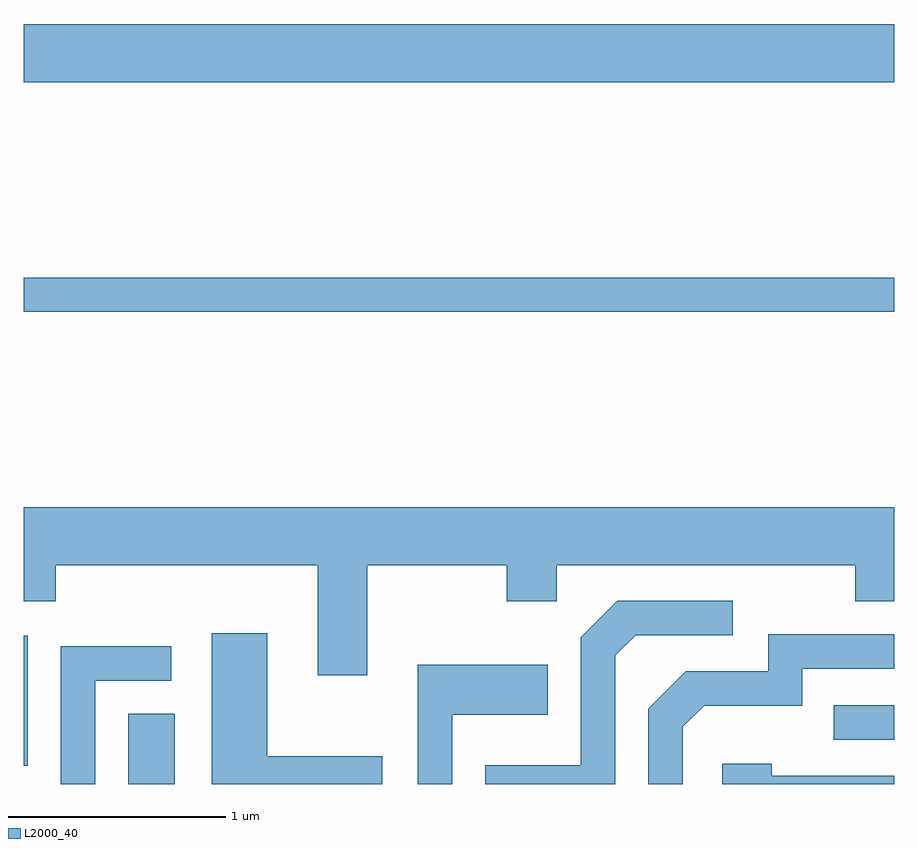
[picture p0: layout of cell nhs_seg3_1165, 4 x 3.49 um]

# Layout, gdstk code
import gdstk
lib = gdstk.Library(unit=1e-6, precision=1e-09)
def R(c, l, rs):  # rectangles x0, y0, x1, y1
    for r in rs: c.add(gdstk.rectangle(r[:2], r[2:], *l))
def P(c, l, *ps):  # polygons
    for p in ps: c.add(gdstk.Polygon(p, *l))
L2000_40 = (2000, 40)

nhs_seg3_1165 = lib.new_cell('nhs_seg3_1165')
R(nhs_seg3_1165, L2000_40, [(220.091,1133.892,220.304,1134.214), (219.611,1133.976,219.629,1134.574), (223.333,1134.096,223.611,1134.254), (219.611,1136.061,223.611,1136.219), (219.611,1137.116,223.611,1137.384)])
P(nhs_seg3_1165, L2000_40, [(221.189,1134.896),(221.831,1134.896),(221.831,1134.731),(222.059,1134.731),(222.059,1134.896),(223.431,1134.896),(223.431,1134.731),(223.611,1134.731),(223.611,1135.164),(219.611,1135.164),(219.611,1134.731),(219.759,1134.731),(219.759,1134.896),(220.961,1134.896),(220.961,1134.391),(221.189,1134.391)],
  [(222.329,1134.484),(222.422,1134.576),(222.868,1134.576),(222.868,1134.734),(222.339,1134.734),(222.171,1134.567),(222.171,1133.979),(221.731,1133.979),(221.731,1133.892),(222.329,1133.892)],
  [(221.259,1134.019),(220.729,1134.019),(220.729,1134.584),(220.476,1134.584),(220.476,1133.892),(221.259,1133.892)],
  [(222.639,1134.154),(222.737,1134.251),(223.189,1134.251),(223.189,1134.421),(223.611,1134.421),(223.611,1134.579),(223.031,1134.579),(223.031,1134.409),(222.654,1134.409),(222.481,1134.237),(222.481,1133.892),(222.639,1133.892)],
  [(219.939,1134.366),(220.288,1134.366),(220.288,1134.524),(219.781,1134.524),(219.781,1133.892),(219.939,1133.892)],
  [(221.579,1134.211),(222.019,1134.211),(222.019,1134.439),(221.421,1134.439),(221.421,1133.892),(221.579,1133.892)],
  [(223.611,1133.929),(223.049,1133.929),(223.049,1133.984),(222.821,1133.984),(222.821,1133.892),(223.611,1133.892)])

lib.write_gds('nhs_seg3_1165.gds')
